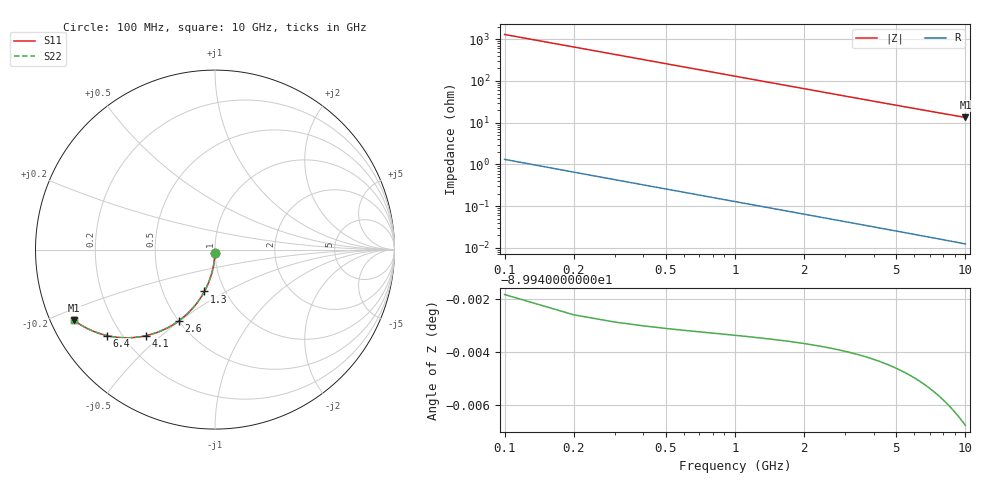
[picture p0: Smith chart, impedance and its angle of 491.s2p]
# Hz S RI R 50.00
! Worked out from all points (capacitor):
!   100 points, 100 MHz to 10 GHz, reference 50 ohm
!   read as one part in shunt: C = 1.22 pF near 100 MHz
!   lowest |Z| = 13.4 ohm at 10 GHz (marker M1)
!   S11 on the Smith chart (normalised r, x): 100 MHz: 1.00, -0.04; 1.3 GHz: 0.80, -0.40; 2.6 GHz: 0.50, -0.50; 4.1 GHz: 0.29, -0.45; 6.4 GHz: 0.15, -0.34; 10 GHz: 0.07, -0.23
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1e8  -0.00036 -0.0191  0.9996 -0.0194  0.9996 -0.0194  -0.00036 -0.0191
2e8  -0.00149 -0.0381  0.9985 -0.0387  0.9985 -0.0387  -0.00149 -0.0381
3e8  -0.00334 -0.057  0.9966 -0.0579  0.9966 -0.0579  -0.00334 -0.057
4e8  -0.00592 -0.0758  0.994 -0.077  0.994 -0.077  -0.00592 -0.0758
5e8  -0.00922 -0.0945  0.9907 -0.096  0.9907 -0.096  -0.00922 -0.0945
6e8  -0.0132 -0.1129  0.9867 -0.1147  0.9867 -0.1147  -0.0132 -0.1129
7e8  -0.0179 -0.1311  0.9821 -0.1332  0.9821 -0.1332  -0.0179 -0.1311
8e8  -0.0232 -0.1489  0.9767 -0.1514  0.9767 -0.1514  -0.0232 -0.1489
1e9  -0.0358 -0.1838  0.9642 -0.1868  0.9642 -0.1868  -0.0358 -0.1838
1.3e9  -0.0589 -0.2331  0.941 -0.237  0.941 -0.237  -0.0589 -0.2331
1.5e9  -0.0769 -0.2637  0.923 -0.2683  0.923 -0.2683  -0.0769 -0.2637
1.8e9  -0.107 -0.306  0.8929 -0.3115  0.8929 -0.3115  -0.107 -0.306
2.2e9  -0.1518 -0.355  0.8481 -0.3617  0.8481 -0.3617  -0.1518 -0.355
2.6e9  -0.1998 -0.3954  0.8001 -0.4034  0.8001 -0.4034  -0.1998 -0.3954
3.4e9  -0.2991 -0.4521  0.7008 -0.4626  0.7008 -0.4626  -0.2991 -0.4521
4.1e9  -0.3828 -0.4792  0.6171 -0.4919  0.6171 -0.4919  -0.3828 -0.4792
5.1e9  -0.4896 -0.4914  0.5102 -0.5074  0.5102 -0.5074  -0.4896 -0.4914
6.4e9  -0.6017 -0.4789  0.398 -0.4991  0.398 -0.4991  -0.6017 -0.4789
6.7e9  -0.6235 -0.4734  0.3762 -0.4945  0.3762 -0.4945  -0.6235 -0.4734
7.5e9  -0.6749 -0.456  0.3247 -0.4797  0.3247 -0.4797  -0.6749 -0.456
8.4e9  -0.7227 -0.4337  0.2768 -0.4604  0.2768 -0.4604  -0.7227 -0.4337
1e10  -0.7874 -0.3924  0.212 -0.4245  0.212 -0.4245  -0.7874 -0.3924
